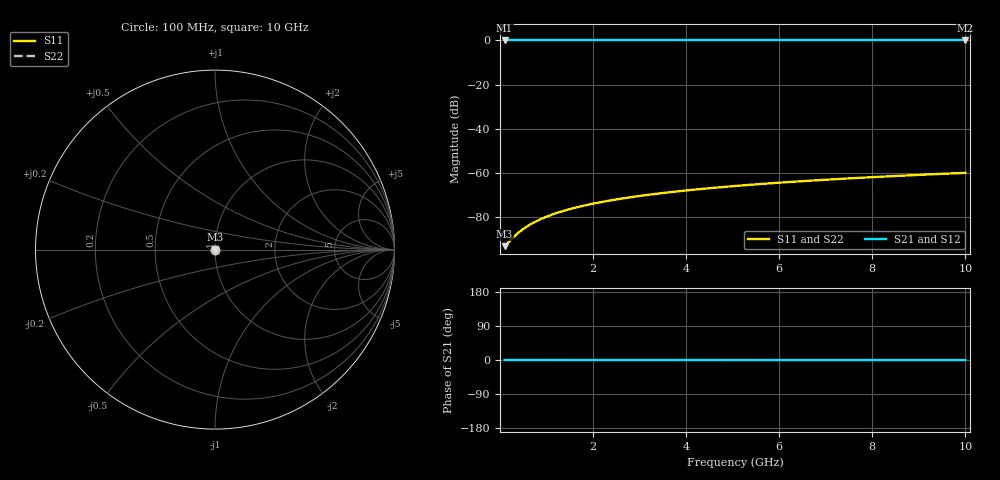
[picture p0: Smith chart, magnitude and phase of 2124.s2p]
# Hz S RI R 50.00
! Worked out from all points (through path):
!   100 points, 100 MHz to 10 GHz, reference 50 ohm
!   highest |S21| = 0.00 dB at 100 MHz (marker M1); lowest = 0.0 dB at 10 GHz (marker M2)
!   lowest |S11| = -93.2 dB at 100 MHz (marker M3), VSWR 1.00, Z = 50 + j0.000997 ohm
!   |S11| at or under -10 dB: start of sweep to end of sweep
!   |S22| runs from -93.2 to -60.0 dB; largest |S21 - S12| = 0
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1e8  1.94e-05 9.97e-06  1 -3.51e-05  1 -3.51e-05  1.94e-05 9.97e-06
9e8  2e-05 8.97e-05  1 -0.000316  1 -0.000316  2e-05 8.97e-05
1e9  2e-05 9.97e-05  1 -0.000351  1 -0.000351  2e-05 9.97e-05
1.1e9  2.01e-05 0.00011  1 -0.000387  1 -0.000387  2.01e-05 0.00011
1.2e9  2.01e-05 0.00012  1 -0.000422  1 -0.000422  2.01e-05 0.00012
1.4e9  2.02e-05 0.00014  1 -0.000492  1 -0.000492  2.02e-05 0.00014
1.6e9  2.02e-05 0.00016  1 -0.000562  1 -0.000562  2.02e-05 0.00016
1.8e9  2.03e-05 0.000179  1 -0.000633  1 -0.000633  2.03e-05 0.000179
2.1e9  2.04e-05 0.000209  1 -0.000738  1 -0.000738  2.04e-05 0.000209
2.5e9  2.05e-05 0.000249  1 -0.000879  1 -0.000879  2.05e-05 0.000249
2.9e9  2.07e-05 0.000289  1 -0.00102  1 -0.00102  2.07e-05 0.000289
3.4e9  2.08e-05 0.000339  1 -0.0012  1 -0.0012  2.08e-05 0.000339
3.8e9  2.1e-05 0.000379  1 -0.00134  1 -0.00134  2.1e-05 0.000379
4.2e9  2.11e-05 0.000419  1 -0.00148  1 -0.00148  2.11e-05 0.000419
4.6e9  2.13e-05 0.000459  1 -0.00162  1 -0.00162  2.13e-05 0.000459
5.1e9  2.15e-05 0.000509  1 -0.0018  1 -0.0018  2.15e-05 0.000509
5.9e9  2.19e-05 0.000589  1 -0.00208  1 -0.00208  2.19e-05 0.000589
6.7e9  2.24e-05 0.000669  1 -0.00236  1 -0.00236  2.24e-05 0.000669
7.5e9  2.29e-05 0.000749  1 -0.00265  1 -0.00265  2.29e-05 0.000749
8.4e9  2.35e-05 0.00084  1 -0.00297  1 -0.00297  2.35e-05 0.00084
9.2e9  2.41e-05 0.00092  1 -0.00325  1 -0.00325  2.41e-05 0.00092
1e10  2.47e-05 0.001  1 -0.00354  1 -0.00354  2.47e-05 0.001
